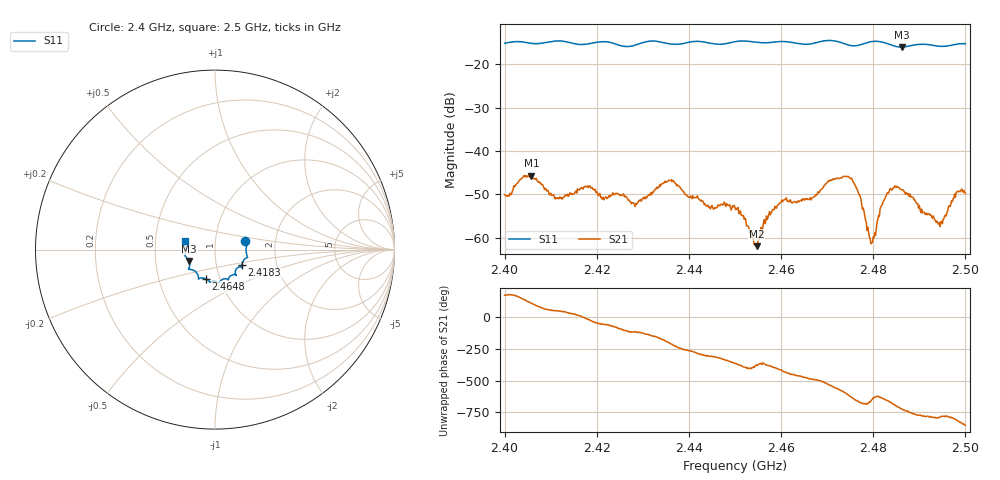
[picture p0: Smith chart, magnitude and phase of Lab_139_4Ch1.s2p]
# Hz S RI R 50
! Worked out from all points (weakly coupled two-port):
!   601 points, 2.4 GHz to 2.5 GHz, reference 50 ohm
!   highest |S21| = -45.65 dB at 2.4058 GHz (marker M1); lowest = -61.9 dB at 2.4547 GHz (marker M2)
!   lowest |S11| = -16.0 dB at 2.4862 GHz (marker M3), VSWR 1.37, Z = 37.1 - j4.82 ohm
!   |S11| at or under -10 dB: start of sweep to end of sweep
!   S12 and S22 are empty: the file has one direction only
!   S11 on the Smith chart (normalised r, x): 2.4 GHz: 1.40, +0.13; 2.4183 GHz: 1.33, -0.24; 2.4648 GHz: 0.86, -0.29; 2.5 GHz: 0.71, +0.07
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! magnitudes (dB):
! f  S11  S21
! 2.4 GHz  -15.1  -50.1
! 2.4058 GHz  -15.2  -45.7
! 2.4113 GHz  -14.6  -50.8
! 2.4167 GHz  -15.4  -48.4
! 2.4183 GHz  -15.2  -48.1
! 2.4283 GHz  -15.6  -52.8
! 2.4333 GHz  -14.7  -48.3
! 2.4362 GHz  -15.3  -46.6
! 2.4442 GHz  -15.0  -52.5
! 2.45 GHz  -14.8  -53.1
! 2.4547 GHz  -14.9  -61.9
! 2.4597 GHz  -14.7  -52.1
! 2.4648 GHz  -15.4  -50.9
! 2.4667 GHz  -15.2  -50.9
! 2.4748 GHz  -15.6  -46.1
! 2.4768 GHz  -15.6  -49.7
! 2.4797 GHz  -14.7  -61.2
! 2.4833 GHz  -15.3  -49.7
! 2.4862 GHz  -16.0  -49.0
! 2.4945 GHz  -15.9  -57.4
! 2.4982 GHz  -15.3  -49.4
! 2.5 GHz  -15.2  -49.8
